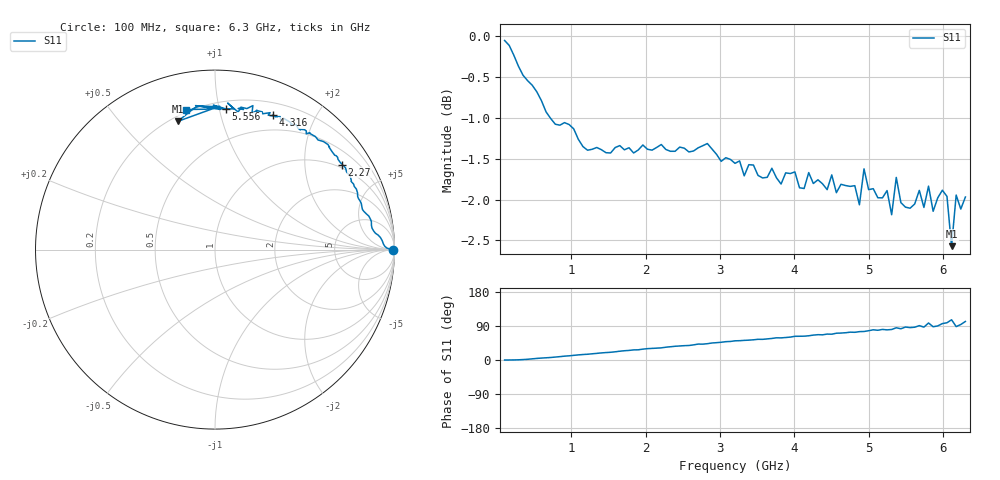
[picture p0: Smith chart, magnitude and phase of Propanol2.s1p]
! Created with skrf 2.1.0 (http://scikit-rf.org).
# Hz S RI R 50.0
!freq ReS11 ImS11
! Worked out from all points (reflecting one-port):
!   101 points, 100 MHz to 6.3 GHz, reference 50 ohm
!   lowest |S11| = -2.6 dB at 6.114 GHz (marker M1), VSWR 6.81, Z = 11.3 + j36.3 ohm
!   phase of S11 starts at -0 deg and turns +102 deg over the sweep
!   S11 on the Smith chart (normalised r, x): 100 MHz: open; 2.27 GHz: 0.88, +3.06; 4.316 GHz: 0.33, +1.47; 5.556 GHz: 0.26, +1.05; 6.3 GHz: 0.19, +0.80
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1e8  0.9935 -0.0015
3.48e8  0.9459 0.0184
9.06e8  0.8712 0.1559
1.65e9  0.7878 0.3371
2.27e9  0.7084 0.4738
2.456e9  0.6827 0.515
3.2e9  0.5304 0.646
4.006e9  0.3808 0.7327
4.316e9  0.3215 0.7508
4.502e9  0.307 0.7629
4.564e9  0.2656 0.7568
4.75e9  0.2309 0.7755
4.874e9  0.206 0.7611
4.936e9  0.211 0.8021
5.06e9  0.1442 0.7936
5.308e9  0.1285 0.7668
5.37e9  0.0704 0.8163
5.432e9  0.1046 0.784
5.494e9  0.0417 0.7848
5.556e9  0.0622 0.7822
5.68e9  -0.0093 0.8046
5.742e9  0.0437 0.7843
5.804e9  -0.1083 0.8022
5.866e9  0.0308 0.7807
6.052e9  -0.1144 0.7896
6.114e9  -0.2074 0.7144
6.176e9  0.0261 0.7989
6.3e9  -0.1618 0.7805
